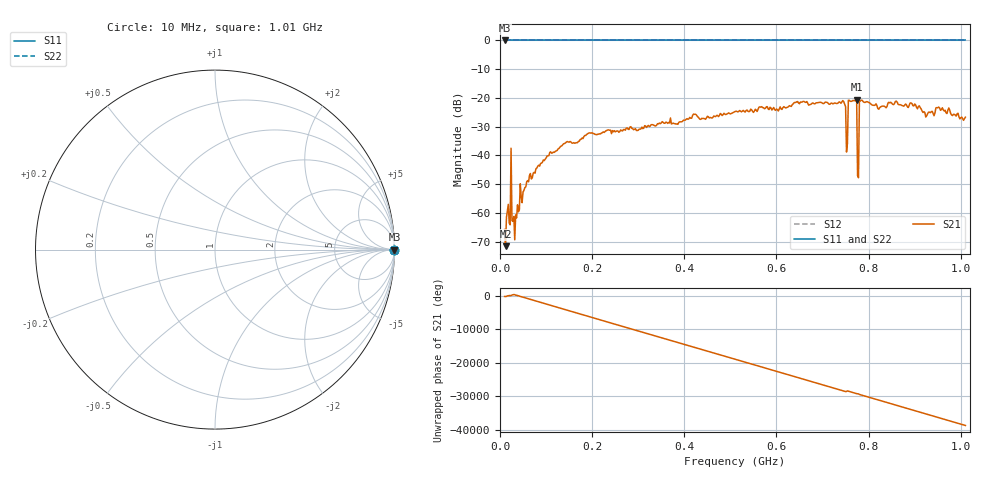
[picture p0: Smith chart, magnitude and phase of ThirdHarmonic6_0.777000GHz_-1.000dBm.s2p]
! 8/16/2025 1:57:11 AM
! C:\ANRITSUVNA\TEMP\TEMP.S2P
! CHANNEL.1
! TR.MEASUREMENT
! RAW.DATA
! RF.CORRECTION.OFF
! AVERAGING.OFF
! IF.BANDWIDTH: 5KHZ
! SWEEPTYPE:  FREQ.SWEEP(Linear)
! Reference Plane Port Info
! PORT:  PORT1  PORT2
! DISTANCE:  0  m  0  m
! TIME:  0  s  0  s
! PHASE.OFFSET:  0  deg.  0  deg.
! LOSS:  0  dB  0  dB
! REF.LOSS:  0  dB  0  dB
! REF.FREQ:  0  Hz  0  Hz
! Power Info
! POWER:  -20  dBm  -20  dBm
! EFF.POWER:  -20  dBm  -20  dBm
! SOURCE.ATTEN:  0  dB  0  dB
! TEST.ATTEN:  0  dB  0  dB
# GHZ S RI R 50.0
! FREQ.GHZ  S11RE  S11IM  S21RE  S21IM  S12RE  S12IM  S22RE  S22IM
!; PortSelection: Port_12
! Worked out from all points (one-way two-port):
!   501 points, 10 MHz to 1.01 GHz, reference 50 ohm
!   highest |S21| = -20.62 dB at 774 MHz (marker M1); lowest = -71.5 dB at 12 MHz (marker M2)
!   lowest |S11| = 0.0 dB at 10 MHz (marker M3)
!   |S11| at or under -10 dB: nowhere
!   |S22| runs from 0.0 to 0.0 dB; largest |S21 - S12| = 1.1
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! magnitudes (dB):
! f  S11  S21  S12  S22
! 10 MHz  0.0  -65.7  0.0  0.0
! 12 MHz  0.0  -71.5  0.0  0.0
! 18 MHz  0.0  -57.0  0.0  0.0
! 20 MHz  0.0  -63.5  0.0  0.0
! 32 MHz  0.0  -69.3  0.0  0.0
! 48 MHz  0.0  -56.4  0.0  0.0
! 82 MHz  0.0  -43.7  0.0  0.0
! 142 MHz  0.0  -35.6  0.0  0.0
! 178 MHz  0.0  -34.0  0.0  0.0
! 344 MHz  0.0  -29.0  0.0  0.0
! 510 MHz  0.0  -24.7  0.0  0.0
! 678 MHz  0.0  -21.7  0.0  0.0
! 744 MHz  0.0  -20.9  0.0  0.0
! 750 MHz  0.0  -23.0  0.0  0.0
! 756 MHz  0.0  -20.8  0.0  0.0
! 760 MHz  0.0  -21.1  0.0  0.0
! 770 MHz  0.0  -20.9  0.0  0.0
! 774 MHz  0.0  -20.6  0.0  0.0
! 780 MHz  0.0  -21.2  0.0  0.0
! 784 MHz  0.0  -20.8  0.0  0.0
! 844 MHz  0.0  -21.5  0.0  0.0
! 1.01 GHz  0.0  -26.7  0.0  0.0
